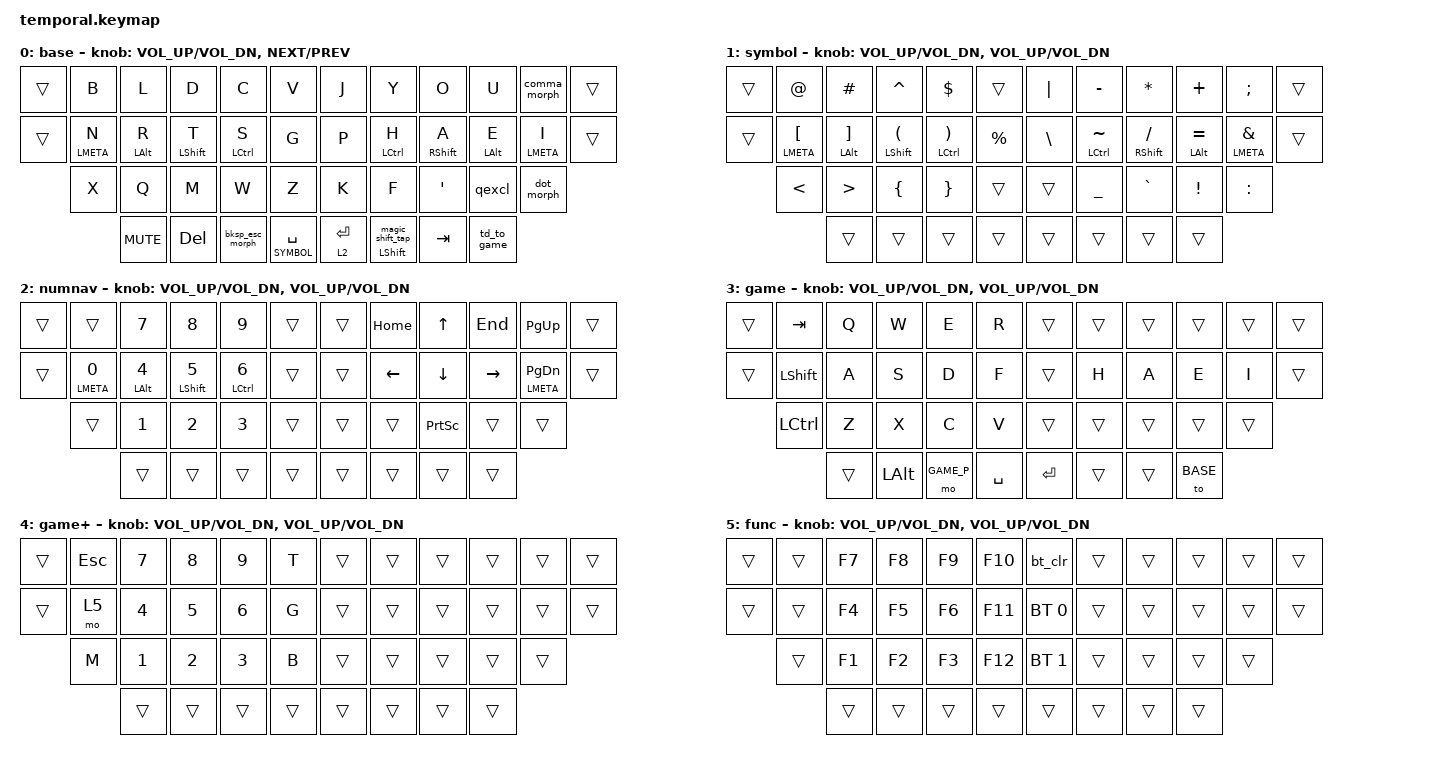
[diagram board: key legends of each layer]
// Editor: https://nickcoutsos.github.io/keymap-editor/

#include <behaviors.dtsi>
#include <dt-bindings/zmk/bt.h>
#include <dt-bindings/zmk/keys.h>

#define BASE    0
#define SYMBOL  1
#define NUMNAV  2
#define GAME    3
#define GAME_P  4
#define FUNC    5

/* Global defaults */

&sk {
    release-after-ms = <900>;
    quick-release;
};

&sl { ignore-modifiers; };

&lt {
    flavor = "balanced";
    tapping-term-ms = <200>;
    quick-tap-ms = <175>;
};

/ {
    behaviors {
        /* Home Row Mods */

        hrm_l: hrm_l {
            compatible = "zmk,behavior-hold-tap";
            bindings = <&kp>, <&kp>;

            #binding-cells = <2>;
            tapping-term-ms = <280>;
            quick-tap-ms = <175>;
            flavor = "balanced";
            hold-trigger-on-release;
            require-prior-idle-ms = <150>;
            hold-trigger-key-positions = <6 7 8 9 10 11 18 19 20 21 22 23 29 30 31 32 33 38 39 40 41>;
        };

        hrm_r: hrm_r {
            compatible = "zmk,behavior-hold-tap";
            bindings = <&kp>, <&kp>;

            #binding-cells = <2>;
            tapping-term-ms = <280>;
            quick-tap-ms = <175>;
            flavor = "balanced";
            hold-trigger-on-release;
            require-prior-idle-ms = <150>;
            hold-trigger-key-positions = <0 1 2 3 4 5 12 13 14 15 16 17 24 25 26 27 28 34 35 36 37>;
        };

        // Tap: comma | Shift + tap: semicolon | Ctrl + shift + tap: <

        comma_morph: comma_morph {
            compatible = "zmk,behavior-mod-morph";
            bindings = <&kp COMMA>, <&comma_inner_morph>;

            #binding-cells = <0>;
            mods = <(MOD_LSFT)>;
        };

        comma_inner_morph: comma_inner_morph {
            compatible = "zmk,behavior-mod-morph";
            bindings = <&kp SEMI>, <&kp LT>;

            #binding-cells = <0>;
            mods = <(MOD_LCTL|MOD_RCTL)>;
        };

        // Tap: dot | Shift + tap: colon | Ctrl + shift + tap: >

        dot_morph: dot_morph {
            compatible = "zmk,behavior-mod-morph";
            bindings = <&kp DOT>, <&dot_inner_morph>;

            #binding-cells = <0>;
            mods = <(MOD_LSFT)>;
        };

        dot_inner_morph: dot_inner_morph {
            compatible = "zmk,behavior-mod-morph";
            bindings = <&kp COLON>, <&kp GT>;

            #binding-cells = <0>;
            mods = <(MOD_LCTL|MOD_RCTL)>;
        };

        // Tap: qmark | Shift + tap: excl

        qexcl: qexcl {
            compatible = "zmk,behavior-mod-morph";
            bindings = <&kp QMARK>, <&kp EXCL>;

            #binding-cells = <0>;
            mods = <(MOD_LSFT)>;
        };

        // Tap: bspc | Shift + tap: esc

        bksp_esc_morph: bksp_esc_morph {
            compatible = "zmk,behavior-mod-morph";
            bindings = <&kp BSPC>, <&kp ESC>;

            #binding-cells = <0>;
            mods = <(MOD_LSFT)>;
        };

        // Tap: BT_CLR | Shift + tap: BT_CLR_ALL

        bt_clr: bt_clr {
            compatible = "zmk,behavior-mod-morph";
            bindings = <&bt BT_CLR>, <&bt BT_CLR_ALL>;

            #binding-cells = <0>;
            mods = <(MOD_LSFT|MOD_RSFT)>;
        };

        // Tap: sticky-shift | Shift + tap: caps_word | Hold: shift

        magic_shift: magic_shift {
            compatible = "zmk,behavior-hold-tap";
            bindings = <&kp>, <&magic_shift_tap>;

            #binding-cells = <2>;
            tapping-term-ms = <200>;
            quick-tap-ms = <175>;
            flavor = "balanced";
        };

        magic_shift_tap: magic_shift_tap {
            compatible = "zmk,behavior-mod-morph";
            bindings = <&sk LSHFT>, <&caps_word>;

            #binding-cells = <0>;
            mods = <(MOD_LSFT|MOD_RSFT)>;
        };

        // Double-tap to go to game layer

        td_to_game: td_to_game {
            compatible = "zmk,behavior-tap-dance";
            #binding-cells = <0>;
            tapping-term-ms = <200>;
            bindings = <&none>, <&to GAME>;
        };
    };

    conditional_layers {
        compatible = "zmk,conditional-layers";

        func_layer {
            if-layers = <SYMBOL NUMNAV>;
            then-layer = <FUNC>;
        };

        game_func {
            if-layers = <GAME_P FUNC>;
            then-layer = <FUNC>;
        };
    };

    keymap {
        compatible = "zmk,keymap";

        base_layer {
            display-name = "base";
            bindings = <
&trans  &kp B           &kp L          &kp D           &kp C            &kp V             &kp J        &kp Y                 &kp O           &kp U          &comma_morph    &trans
&trans  &hrm_l LMETA N  &hrm_l LALT R  &hrm_l LSHFT T  &hrm_l LCTRL S   &kp G             &kp P        &hrm_r LCTRL H        &hrm_r RSHFT A  &hrm_r LALT E  &hrm_r LMETA I  &trans
        &kp X           &kp Q          &kp M           &kp W            &kp Z             &kp K        &kp F                 &kp SQT         &qexcl         &dot_morph
                        &kp C_MUTE     &kp DEL         &bksp_esc_morph  &lt SYMBOL SPACE  &lt 2 ENTER  &magic_shift LSHFT 0  &kp TAB         &td_to_game
            >;

            sensor-bindings =
                <&inc_dec_kp C_VOL_UP C_VOL_DN>,
                <&inc_dec_kp C_NEXT C_PREV>;
        };

        symbol_layer {
            display-name = "symbol";
            bindings = <
&trans  &kp AT             &kp HASH          &kp CARET          &kp DOLLAR         &trans     &kp PIPE  &kp MINUS           &kp STAR           &kp PLUS           &kp SEMI           &trans
&trans  &hrm_l LMETA LBKT  &hrm_l LALT RBKT  &hrm_l LSHFT LPAR  &hrm_l LCTRL RPAR  &kp PRCNT  &kp BSLH  &hrm_r LCTRL TILDE  &hrm_r RSHFT FSLH  &hrm_r LALT EQUAL  &hrm_r LMETA AMPS  &trans
        &kp LT             &kp GT            &kp LBRC           &kp RBRC           &trans     &trans    &kp UNDER           &kp GRAVE          &kp EXCL           &kp COLON
                           &trans            &trans             &trans             &trans     &trans    &trans              &trans             &trans
            >;

            sensor-bindings = <&inc_dec_kp C_VOL_UP C_VOL_DN &inc_dec_kp C_VOL_UP C_VOL_DN>;
        };

        numnav_layer {
            display-name = "numnav";
            bindings = <
&trans  &trans           &kp N7          &kp N8           &kp N9           &trans  &trans  &kp HOME  &kp UP           &kp END    &kp PG_UP           &trans
&trans  &hrm_l LMETA N0  &hrm_l LALT N4  &hrm_l LSHFT N5  &hrm_l LCTRL N6  &trans  &trans  &kp LEFT  &kp DOWN         &kp RIGHT  &hrm_r LMETA PG_DN  &trans
        &trans           &kp N1          &kp N2           &kp N3           &trans  &trans  &trans    &kp PRINTSCREEN  &trans     &trans
                         &trans          &trans           &trans           &trans  &trans  &trans    &trans           &trans
            >;

            sensor-bindings = <&inc_dec_kp C_VOL_UP C_VOL_DN &inc_dec_kp C_VOL_UP C_VOL_DN>;
        };

        game_layer {
            display-name = "game";
            bindings = <
&trans  &kp TAB    &kp Q   &kp W     &kp E       &kp R      &trans     &trans  &trans  &trans    &trans  &trans
&trans  &kp LSHFT  &kp A   &kp S     &kp D       &kp F      &trans     &kp H   &kp A   &kp E     &kp I   &trans
        &kp LCTRL  &kp Z   &kp X     &kp C       &kp V      &trans     &trans  &trans  &trans    &trans
                   &trans  &kp LALT  &mo GAME_P  &kp SPACE  &kp ENTER  &trans  &trans  &to BASE
            >;

            sensor-bindings = <&inc_dec_kp C_VOL_UP C_VOL_DN &inc_dec_kp C_VOL_UP C_VOL_DN>;
        };

        game_plus_layer {
            display-name = "game+";
            bindings = <
&trans  &kp ESC  &kp N7  &kp N8  &kp N9  &kp T   &trans  &trans  &trans  &trans  &trans  &trans
&trans  &mo 5    &kp N4  &kp N5  &kp N6  &kp G   &trans  &trans  &trans  &trans  &trans  &trans
        &kp M    &kp N1  &kp N2  &kp N3  &kp B   &trans  &trans  &trans  &trans  &trans
                 &trans  &trans  &trans  &trans  &trans  &trans  &trans  &trans
            >;

            sensor-bindings = <&inc_dec_kp C_VOL_UP C_VOL_DN &inc_dec_kp C_VOL_UP C_VOL_DN>;
        };

        function_layer {
            display-name = "func";
            bindings = <
&trans  &trans  &kp F7  &kp F8  &kp F9  &kp F10  &bt_clr       &trans  &trans  &trans  &trans  &trans
&trans  &trans  &kp F4  &kp F5  &kp F6  &kp F11  &bt BT_SEL 0  &trans  &trans  &trans  &trans  &trans
        &trans  &kp F1  &kp F2  &kp F3  &kp F12  &bt BT_SEL 1  &trans  &trans  &trans  &trans
                &trans  &trans  &trans  &trans   &trans        &trans  &trans  &trans
            >;

            sensor-bindings = <&inc_dec_kp C_VOL_UP C_VOL_DN &inc_dec_kp C_VOL_UP C_VOL_DN>;
        };
    };
};
